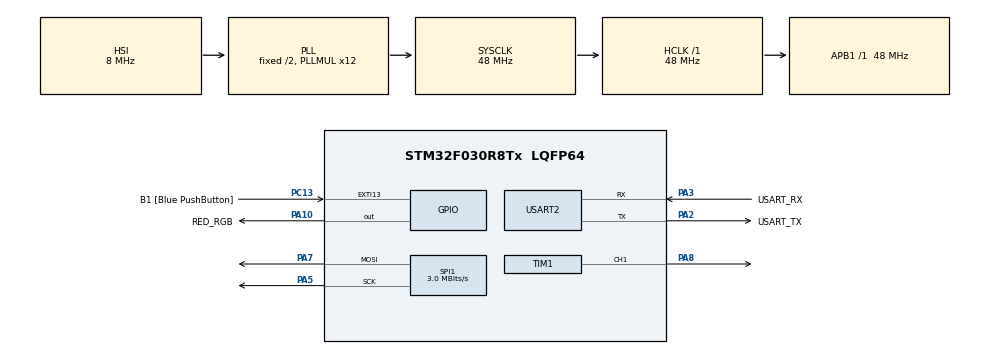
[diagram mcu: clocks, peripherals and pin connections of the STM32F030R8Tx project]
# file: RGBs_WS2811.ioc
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Dma.Request0=SPI1_TX
Dma.SPI1_TX.0.Direction=DMA_MEMORY_TO_PERIPH
Dma.SPI1_TX.0.Instance=DMA1_Channel3
Dma.SPI1_TX.0.MemDataAlignment=DMA_MDATAALIGN_BYTE
Dma.SPI1_TX.0.MemInc=DMA_MINC_ENABLE
Dma.SPI1_TX.0.Mode=DMA_NORMAL
Dma.SPI1_TX.0.PeriphDataAlignment=DMA_PDATAALIGN_BYTE
Dma.SPI1_TX.0.PeriphInc=DMA_PINC_DISABLE
Dma.SPI1_TX.0.Priority=DMA_PRIORITY_LOW
Mcu.Family=STM32F0
Mcu.Name=STM32F030R8Tx
Mcu.Package=LQFP64
NVIC.DMA1_Channel2_3_IRQn=true\:0\:0\:false\:false\:true\:false\:true
PA10.GPIO_Label=RED_RGB
PA10.GPIO_PuPd=GPIO_PULLUP
PA10.Signal=GPIO_Output
PA13.GPIO_Label=TMS
PA13.Mode=Serial_Wire
PA13.Signal=SYS_SWDIO
PA14.GPIO_Label=TCK
PA14.Mode=Serial_Wire
PA14.Signal=SYS_SWCLK
PA2.GPIO_Label=USART_TX
PA2.GPIO_Mode=GPIO_MODE_AF_PP
PA2.GPIO_PuPd=GPIO_NOPULL
PA2.GPIO_Speed=GPIO_SPEED_FREQ_LOW
PA2.Mode=Asynchronous
PA2.Signal=USART2_TX
PA3.GPIO_Label=USART_RX
PA3.GPIO_Mode=GPIO_MODE_AF_PP
PA3.GPIO_PuPd=GPIO_NOPULL
PA3.GPIO_Speed=GPIO_SPEED_FREQ_LOW
PA3.Mode=Asynchronous
PA3.Signal=USART2_RX
PA5.Mode=TX_Only_Simplex_Unidirect_Master
PA5.Signal=SPI1_SCK
PA7.GPIO_PuPd=GPIO_PULLUP
PA7.Mode=TX_Only_Simplex_Unidirect_Master
PA7.Signal=SPI1_MOSI
PA8.Signal=S_TIM1_CH1
PC13.GPIO_Label=B1 [Blue PushButton]
PC13.GPIO_ModeDefaultEXTI=GPIO_MODE_IT_FALLING
PC13.Signal=GPXTI13
PC14-OSC32_IN.Mode=LSE-External-Oscillator
PC14-OSC32_IN.Signal=RCC_OSC32_IN
PC15-OSC32_OUT.Mode=LSE-External-Oscillator
PC15-OSC32_OUT.Signal=RCC_OSC32_OUT
PF0-OSC_IN.Mode=HSE-External-Clock-Source
PF0-OSC_IN.Signal=RCC_OSC_IN
PF1-OSC_OUT.Signal=RCC_OSC_OUT
ProjectManager.HeapSize=0x200
ProjectManager.StackSize=0x400
ProjectManager.TargetToolchain=MDK-ARM V5
RCC.AHBFreq_Value=48000000
RCC.APB1Freq_Value=48000000
RCC.APB1TimFreq_Value=48000000
RCC.HCLKFreq_Value=48000000
RCC.PLLMUL=RCC_PLL_MUL12
RCC.SYSCLKFreq_VALUE=48000000
RCC.SYSCLKSource=RCC_SYSCLKSOURCE_PLLCLK
SH.S_TIM1_CH1.0=TIM1_CH1,PWM Generation1 CH1
SPI1.BaudRatePrescaler=SPI_BAUDRATEPRESCALER_16
SPI1.CalculateBaudRate=3.0 MBits/s
SPI1.Direction=SPI_DIRECTION_2LINES
SPI1.Mode=SPI_MODE_MASTER
SPI1.NSSPMode=SPI_NSS_PULSE_DISABLE
SPI1.VirtualType=VM_MASTER
TIM1.Channel-PWM\ Generation1\ CH1=TIM_CHANNEL_1
TIM1.Period=1000
TIM1.Prescaler=48000
TIM1.Pulse-PWM\ Generation1\ CH1=500
USART2.VirtualMode-Asynchronous=VM_ASYNC
VP_TIM1_VS_ClockSourceINT.Mode=Internal
board=NUCLEO-F030R8

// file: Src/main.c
/* USER CODE BEGIN Header */
/**
  ******************************************************************************
  * @file           : main.c
  * @brief          : Main program body
  ******************************************************************************
  * @attention
  *
  * <h2><center>&copy; Copyright (c) 2019 STMicroelectronics.
  * All rights reserved.</center></h2>
  *
  * This software component is licensed by ST under BSD 3-Clause license,
  * the "License"; You may not use this file except in compliance with the
  * License. You may obtain a copy of the License at:
  *                        opensource.org/licenses/BSD-3-Clause
  *
  ******************************************************************************
  */
/* USER CODE END Header */

#include "main.h"

/* USER CODE BEGIN Includes */
#include "WS2811.h"
#include "stm32f0xx_hal.h"
#include "leds.h"
/* USER CODE END Includes */

SPI_HandleTypeDef hspi1;
DMA_HandleTypeDef hdma_spi1_tx;

TIM_HandleTypeDef htim1;

UART_HandleTypeDef huart2;

void SystemClock_Config(void);
static void MX_GPIO_Init(void);
static void MX_DMA_Init(void);
static void MX_USART2_UART_Init(void);
static void MX_SPI1_Init(void);
static void MX_TIM1_Init(void);

/* USER CODE BEGIN 0 */

static void myMX_SPI1_Init(void)
{

  hspi1.Instance = SPI1;
  hspi1.Init.Mode = SPI_MODE_MASTER;
  hspi1.Init.Direction = SPI_DIRECTION_2LINES;
  hspi1.Init.DataSize = SPI_DATASIZE_8BIT;
  hspi1.Init.CLKPolarity = SPI_POLARITY_LOW;
  hspi1.Init.CLKPhase = SPI_PHASE_2EDGE;
  hspi1.Init.NSS = SPI_NSS_SOFT;
  hspi1.Init.BaudRatePrescaler = SPI_BAUDRATEPRESCALER_2;
  hspi1.Init.FirstBit = SPI_FIRSTBIT_MSB;
  hspi1.Init.TIMode = SPI_TIMODE_DISABLE;
  hspi1.Init.CRCCalculation = SPI_CRCCALCULATION_DISABLE;
  hspi1.Init.CRCPolynomial = 7;
  hspi1.Init.CRCLength = SPI_CRC_LENGTH_DATASIZE;
  hspi1.Init.NSSPMode = SPI_NSS_PULSE_DISABLE;
  if (HAL_SPI_Init(&hspi1) != HAL_OK)
  {
    Error_Handler();
  }
  /* USER CODE BEGIN SPI1_Init 2 */

  /* USER CODE END SPI1_Init 2 */

}

/* USER CODE END 0 */

int main(void)
{

  /* MCU Configuration--------------------------------------------------------*/

  /* Reset of all peripherals, Initializes the Flash interface and the Systick. */
  HAL_Init();

  /* Configure the system clock */
  SystemClock_Config();

  /* Initialize all configured peripherals */
  MX_GPIO_Init();
  MX_DMA_Init();
  MX_USART2_UART_Init();
  MX_SPI1_Init();
  MX_TIM1_Init();
  /* USER CODE BEGIN 2 */
	myMX_SPI1_Init();

  /* USER CODE END 2 */

  /* Infinite loop */
  /* USER CODE BEGIN WHILE */
TurnOffAllLed();
  while (1)
  {

	/*
			for(int i=0; i<24; i++){
				ledSingleOn(i, LedColorRed, 10, 1);
				HAL_Delay(50);
			}

			TurnOffAllLed();
	*/

ledDemo();

	}

}

void SystemClock_Config(void)
{
  RCC_OscInitTypeDef RCC_OscInitStruct = {0};
  RCC_ClkInitTypeDef RCC_ClkInitStruct = {0};

  /** Initializes the CPU, AHB and APB busses clocks
  */
  RCC_OscInitStruct.OscillatorType = RCC_OSCILLATORTYPE_HSI;
  RCC_OscInitStruct.HSIState = RCC_HSI_ON;
  RCC_OscInitStruct.HSICalibrationValue = RCC_HSICALIBRATION_DEFAULT;
  RCC_OscInitStruct.PLL.PLLState = RCC_PLL_ON;
  RCC_OscInitStruct.PLL.PLLSource = RCC_PLLSOURCE_HSI;
  RCC_OscInitStruct.PLL.PLLMUL = RCC_PLL_MUL12;
  RCC_OscInitStruct.PLL.PREDIV = RCC_PREDIV_DIV1;
  if (HAL_RCC_OscConfig(&RCC_OscInitStruct) != HAL_OK)
  {
    Error_Handler();
  }
  /** Initializes the CPU, AHB and APB busses clocks
  */
  RCC_ClkInitStruct.ClockType = RCC_CLOCKTYPE_HCLK|RCC_CLOCKTYPE_SYSCLK
                              |RCC_CLOCKTYPE_PCLK1;
  RCC_ClkInitStruct.SYSCLKSource = RCC_SYSCLKSOURCE_PLLCLK;
  RCC_ClkInitStruct.AHBCLKDivider = RCC_SYSCLK_DIV1;
  RCC_ClkInitStruct.APB1CLKDivider = RCC_HCLK_DIV1;

  if (HAL_RCC_ClockConfig(&RCC_ClkInitStruct, FLASH_LATENCY_1) != HAL_OK)
  {
    Error_Handler();
  }
}

static void MX_SPI1_Init(void)
{

  /* SPI1 parameter configuration*/
  hspi1.Instance = SPI1;
  hspi1.Init.Mode = SPI_MODE_MASTER;
  hspi1.Init.Direction = SPI_DIRECTION_2LINES;
  hspi1.Init.DataSize = SPI_DATASIZE_4BIT;
  hspi1.Init.CLKPolarity = SPI_POLARITY_LOW;
  hspi1.Init.CLKPhase = SPI_PHASE_1EDGE;
  hspi1.Init.NSS = SPI_NSS_SOFT;
  hspi1.Init.BaudRatePrescaler = SPI_BAUDRATEPRESCALER_16;
  hspi1.Init.FirstBit = SPI_FIRSTBIT_MSB;
  hspi1.Init.TIMode = SPI_TIMODE_DISABLE;
  hspi1.Init.CRCCalculation = SPI_CRCCALCULATION_DISABLE;
  hspi1.Init.CRCPolynomial = 7;
  hspi1.Init.CRCLength = SPI_CRC_LENGTH_DATASIZE;
  hspi1.Init.NSSPMode = SPI_NSS_PULSE_DISABLE;
  if (HAL_SPI_Init(&hspi1) != HAL_OK)
  {
    Error_Handler();
  }

}

static void MX_TIM1_Init(void)
{

  TIM_ClockConfigTypeDef sClockSourceConfig = {0};
  TIM_MasterConfigTypeDef sMasterConfig = {0};
  TIM_OC_InitTypeDef sConfigOC = {0};
  TIM_BreakDeadTimeConfigTypeDef sBreakDeadTimeConfig = {0};

  htim1.Instance = TIM1;
  htim1.Init.Prescaler = 48000;
  htim1.Init.CounterMode = TIM_COUNTERMODE_UP;
  htim1.Init.Period = 1000;
  htim1.Init.ClockDivision = TIM_CLOCKDIVISION_DIV1;
  htim1.Init.RepetitionCounter = 0;
  htim1.Init.AutoReloadPreload = TIM_AUTORELOAD_PRELOAD_DISABLE;
  if (HAL_TIM_Base_Init(&htim1) != HAL_OK)
  {
    Error_Handler();
  }
  sClockSourceConfig.ClockSource = TIM_CLOCKSOURCE_INTERNAL;
  if (HAL_TIM_ConfigClockSource(&htim1, &sClockSourceConfig) != HAL_OK)
  {
    Error_Handler();
  }
  if (HAL_TIM_PWM_Init(&htim1) != HAL_OK)
  {
    Error_Handler();
  }
  sMasterConfig.MasterOutputTrigger = TIM_TRGO_RESET;
  sMasterConfig.MasterSlaveMode = TIM_MASTERSLAVEMODE_DISABLE;
  if (HAL_TIMEx_MasterConfigSynchronization(&htim1, &sMasterConfig) != HAL_OK)
  {
    Error_Handler();
  }
  sConfigOC.OCMode = TIM_OCMODE_PWM1;
  sConfigOC.Pulse = 500;
  sConfigOC.OCPolarity = TIM_OCPOLARITY_HIGH;
  sConfigOC.OCNPolarity = TIM_OCNPOLARITY_HIGH;
  sConfigOC.OCFastMode = TIM_OCFAST_DISABLE;
  sConfigOC.OCIdleState = TIM_OCIDLESTATE_RESET;
  sConfigOC.OCNIdleState = TIM_OCNIDLESTATE_RESET;
  if (HAL_TIM_PWM_ConfigChannel(&htim1, &sConfigOC, TIM_CHANNEL_1) != HAL_OK)
  {
    Error_Handler();
  }
  sBreakDeadTimeConfig.OffStateRunMode = TIM_OSSR_DISABLE;
  sBreakDeadTimeConfig.OffStateIDLEMode = TIM_OSSI_DISABLE;
  sBreakDeadTimeConfig.LockLevel = TIM_LOCKLEVEL_OFF;
  sBreakDeadTimeConfig.DeadTime = 0;
  sBreakDeadTimeConfig.BreakState = TIM_BREAK_DISABLE;
  sBreakDeadTimeConfig.BreakPolarity = TIM_BREAKPOLARITY_HIGH;
  sBreakDeadTimeConfig.AutomaticOutput = TIM_AUTOMATICOUTPUT_DISABLE;
  if (HAL_TIMEx_ConfigBreakDeadTime(&htim1, &sBreakDeadTimeConfig) != HAL_OK)
  {
    Error_Handler();
  }
  HAL_TIM_MspPostInit(&htim1);

}

static void MX_USART2_UART_Init(void)
{

  huart2.Instance = USART2;
  huart2.Init.BaudRate = 38400;
  huart2.Init.WordLength = UART_WORDLENGTH_8B;
  huart2.Init.StopBits = UART_STOPBITS_1;
  huart2.Init.Parity = UART_PARITY_NONE;
  huart2.Init.Mode = UART_MODE_TX_RX;
  huart2.Init.HwFlowCtl = UART_HWCONTROL_NONE;
  huart2.Init.OverSampling = UART_OVERSAMPLING_16;
  huart2.Init.OneBitSampling = UART_ONE_BIT_SAMPLE_DISABLE;
  huart2.AdvancedInit.AdvFeatureInit = UART_ADVFEATURE_NO_INIT;
  if (HAL_UART_Init(&huart2) != HAL_OK)
  {
    Error_Handler();
  }

}

static void MX_DMA_Init(void)
{

  /* DMA controller clock enable */
  __HAL_RCC_DMA1_CLK_ENABLE();

  /* DMA interrupt init */
  /* DMA1_Channel2_3_IRQn interrupt configuration */
  HAL_NVIC_SetPriority(DMA1_Channel2_3_IRQn, 0, 0);
  HAL_NVIC_EnableIRQ(DMA1_Channel2_3_IRQn);

}

static void MX_GPIO_Init(void)
{
  GPIO_InitTypeDef GPIO_InitStruct = {0};

  /* GPIO Ports Clock Enable */
  __HAL_RCC_GPIOC_CLK_ENABLE();
  __HAL_RCC_GPIOF_CLK_ENABLE();
  __HAL_RCC_GPIOA_CLK_ENABLE();

  /*Configure GPIO pin Output Level */
  HAL_GPIO_WritePin(RED_RGB_GPIO_Port, RED_RGB_Pin, GPIO_PIN_RESET);

  /*Configure GPIO pin : B1_Pin */
  GPIO_InitStruct.Pin = B1_Pin;
  GPIO_InitStruct.Mode = GPIO_MODE_IT_FALLING;
  GPIO_InitStruct.Pull = GPIO_NOPULL;
  HAL_GPIO_Init(B1_GPIO_Port, &GPIO_InitStruct);

  /*Configure GPIO pin : RED_RGB_Pin */
  GPIO_InitStruct.Pin = RED_RGB_Pin;
  GPIO_InitStruct.Mode = GPIO_MODE_OUTPUT_PP;
  GPIO_InitStruct.Pull = GPIO_PULLUP;
  GPIO_InitStruct.Speed = GPIO_SPEED_FREQ_LOW;
  HAL_GPIO_Init(RED_RGB_GPIO_Port, &GPIO_InitStruct);

}

void Error_Handler(void)
{
}

/************************ (C) COPYRIGHT STMicroelectronics *****END OF FILE****/
